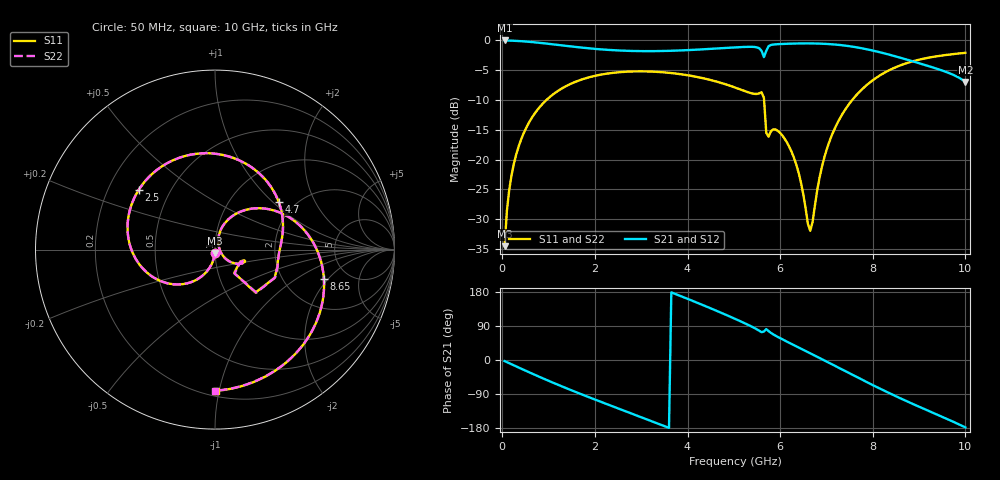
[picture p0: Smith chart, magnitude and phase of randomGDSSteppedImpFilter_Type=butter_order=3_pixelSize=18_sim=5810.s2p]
! freq	dB(S11)	phase(S11)	dB(S12)	phase(S12)
!  dB(S21)	phase(S21)	dB(S22)	phase(S22)
!S-par simulation data
#  GHz  S  DB  R 50
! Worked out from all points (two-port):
!   200 points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, 50 MHz to 10 GHz, reference 50 ohm
!   highest |S21| = -0.01 dB at 50 MHz (marker M1); lowest = -7.0 dB at 10 GHz (marker M2)
!   |S21| within 3 dB of the highest: start of sweep to 8.641 GHz
!   lowest |S11| = -34.5 dB at 50 MHz (marker M3), VSWR 1.04, Z = 49.9 - j1.87 ohm
!   |S11| at or under -10 dB: start of sweep to 952.7 MHz; 5.653 GHz to 7.556 GHz (1.903 GHz wide, 28.8 % of centre)
!   |S22| runs from -34.5 to -2.1 dB; largest |S21 - S12| = 0
!   S11 on the Smith chart (normalised r, x): 50 MHz: 1.00, -0.04; 2.5 GHz: 0.33, +0.31; 4.7 GHz: 1.66, +1.09; 8.65 GHz: 3.34, -1.80; 10 GHz: 0.24, -0.98
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0.05  -34.53 -92.7  -0.01 -2.9  -0.01 -2.9  -34.53 -92.7
0.2  -22.60 -101.6  -0.04 -11.4  -0.04 -11.4  -22.60 -101.6
0.5  -14.93 -118.6  -0.18 -28.1  -0.18 -28.1  -14.93 -118.6
1.1  -9.03 -150.7  -0.66 -60.1  -0.66 -60.1  -9.03 -150.7
1.75  -6.47 177.0  -1.23 -92.4  -1.23 -92.4  -6.47 177.0
2.5  -5.35 141.8  -1.68 -127.7  -1.68 -127.7  -5.35 141.8
3.4  -5.30 100.1  -1.78 -169.6  -1.78 -169.6  -5.30 100.1
4.05  -5.91 69.0  -1.61 159.0  -1.61 159.0  -5.91 69.0
4.7  -7.07 36.7  -1.32 126.0  -1.32 126.0  -7.07 36.7
5.05  -7.97 18.4  -1.16 107.3  -1.16 107.3  -7.97 18.5
5.6  -8.69 -25.2  -1.78 73.3  -1.78 73.3  -8.65 -24.9
5.7  -15.49 -50.6  -1.75 81.5  -1.75 81.5  -15.27 -50.8
6.2  -17.91 -35.9  -0.55 45.2  -0.55 45.2  -17.92 -36.4
6.6  -30.82 -11.2  -0.50 20.8  -0.50 20.8  -31.05 -12.2
6.7  -30.48 47.1  -0.51 14.7  -0.51 14.7  -30.71 48.0
6.9  -21.26 74.6  -0.55 2.3  -0.55 2.3  -21.29 75.2
7.25  -13.66 62.9  -0.74 -19.7  -0.74 -19.7  -13.67 63.1
7.8  -7.96 32.6  -1.37 -54.0  -1.37 -54.0  -7.97 32.7
8.35  -5.02 1.4  -2.38 -87.0  -2.38 -87.0  -5.02 1.4
8.65  -4.03 -15.1  -3.03 -104.1  -3.03 -104.1  -4.03 -15.1
9.3  -2.76 -49.4  -4.54 -139.4  -4.54 -139.4  -2.77 -49.6
10  -2.08 -89.5  -6.99 -177.9  -6.99 -177.9  -2.09 -90.0
